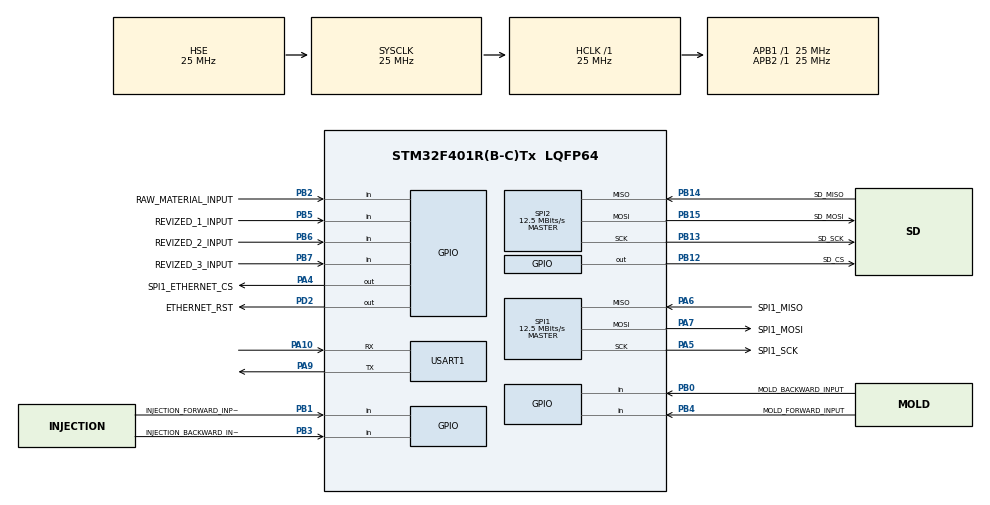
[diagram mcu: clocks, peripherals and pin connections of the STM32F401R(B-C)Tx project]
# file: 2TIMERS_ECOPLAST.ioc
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FATFS._MAX_SS=4096
FATFS._USE_LFN=1
Mcu.Family=STM32F4
Mcu.Name=STM32F401R(B-C)Tx
Mcu.Package=LQFP64
NVIC.PriorityGroup=NVIC_PRIORITYGROUP_4
NVIC.TIM3_IRQn=true\:1\:0\:true\:false\:true\:true\:true\:true
NVIC.TIM4_IRQn=true\:1\:0\:true\:false\:true\:true\:true\:true
PA10.Mode=Asynchronous
PA10.Signal=USART1_RX
PA4.GPIO_Label=SPI1_ETHERNET_CS
PA4.GPIO_PuPd=GPIO_PULLUP
PA4.GPIO_Speed=GPIO_SPEED_FREQ_LOW
PA4.Signal=GPIO_Output
PA5.GPIO_Label=SPI1_SCK
PA5.Mode=Full_Duplex_Master
PA5.Signal=SPI1_SCK
PA6.GPIO_Label=SPI1_MISO
PA6.Mode=Full_Duplex_Master
PA6.Signal=SPI1_MISO
PA7.GPIO_Label=SPI1_MOSI
PA7.Mode=Full_Duplex_Master
PA7.Signal=SPI1_MOSI
PA9.Mode=Asynchronous
PA9.Signal=USART1_TX
PB0.GPIO_Label=MOLD_BACKWARD_INPUT
PB0.GPIO_PuPd=GPIO_PULLDOWN
PB0.Signal=GPIO_Input
PB1.GPIO_Label=INJECTION_FORWARD_INPUT
PB1.GPIO_PuPd=GPIO_PULLDOWN
PB1.Signal=GPIO_Input
PB12.GPIO_Label=SD_CS
PB12.GPIO_PuPd=GPIO_PULLUP
PB12.GPIO_Speed=GPIO_SPEED_FREQ_VERY_HIGH
PB12.Signal=GPIO_Output
PB13.GPIO_Label=SD_SCK
PB13.Mode=Full_Duplex_Master
PB13.Signal=SPI2_SCK
PB14.GPIO_Label=SD_MISO
PB14.Mode=Full_Duplex_Master
PB14.Signal=SPI2_MISO
PB15.GPIO_Label=SD_MOSI
PB15.Mode=Full_Duplex_Master
PB15.Signal=SPI2_MOSI
PB2.GPIO_Label=RAW_MATERIAL_INPUT
PB2.GPIO_PuPd=GPIO_PULLDOWN
PB2.Signal=GPIO_Input
PB3.GPIO_Label=INJECTION_BACKWARD_INPUT
PB3.GPIO_PuPd=GPIO_PULLDOWN
PB3.Signal=GPIO_Input
PB4.GPIO_Label=MOLD_FORWARD_INPUT
PB4.GPIO_PuPd=GPIO_PULLDOWN
PB4.Signal=GPIO_Input
PB5.GPIO_Label=REVIZED_1_INPUT
PB5.GPIO_PuPd=GPIO_PULLDOWN
PB5.Signal=GPIO_Input
PB6.GPIO_Label=REVIZED_2_INPUT
PB6.GPIO_PuPd=GPIO_PULLDOWN
PB6.Signal=GPIO_Input
PB7.GPIO_Label=REVIZED_3_INPUT
PB7.GPIO_PuPd=GPIO_PULLDOWN
PB7.Signal=GPIO_Input
PD2.GPIO_Label=ETHERNET_RST
PD2.GPIO_PuPd=GPIO_PULLUP
PD2.Signal=GPIO_Output
PH0\ -\ OSC_IN.Mode=HSE-External-Oscillator
PH0\ -\ OSC_IN.Signal=RCC_OSC_IN
PH1\ -\ OSC_OUT.Mode=HSE-External-Oscillator
PH1\ -\ OSC_OUT.Signal=RCC_OSC_OUT
ProjectManager.HeapSize=0x200
ProjectManager.StackSize=0x400
ProjectManager.TargetToolchain=STM32CubeIDE
RCC.AHBFreq_Value=25000000
RCC.APB1Freq_Value=25000000
RCC.APB1TimFreq_Value=25000000
RCC.APB2Freq_Value=25000000
RCC.APB2TimFreq_Value=25000000
RCC.CortexFreq_Value=25000000
RCC.HCLKFreq_Value=25000000
RCC.HSE_VALUE=25000000
RCC.HSI_VALUE=16000000
RCC.LSE_VALUE=32768
RCC.SYSCLKFreq_VALUE=25000000
RCC.SYSCLKSource=RCC_SYSCLKSOURCE_HSE
RCC.VCOOutputFreq_Value=192000000
RTC.AsynchPrediv=99
RTC.SynchPrediv=299
SPI1.CalculateBaudRate=12.5 MBits/s
SPI1.Direction=SPI_DIRECTION_2LINES
SPI1.Mode=SPI_MODE_MASTER
SPI1.VirtualType=VM_MASTER
SPI2.CalculateBaudRate=12.5 MBits/s
SPI2.Direction=SPI_DIRECTION_2LINES
SPI2.Mode=SPI_MODE_MASTER
SPI2.VirtualType=VM_MASTER
TIM3.Period=25000-1
TIM3.Prescaler=5-1
TIM3.TIM_MasterOutputTrigger=TIM_TRGO_RESET
TIM4.Period=25000-1
TIM4.Prescaler=1000-1
TIM4.TIM_MasterOutputTrigger=TIM_TRGO_RESET
USART1.VirtualMode=VM_ASYNC
VP_FATFS_VS_Generic.Mode=User_defined
VP_RTC_VS_RTC_Activate.Mode=RTC_Enabled
VP_RTC_VS_RTC_Calendar.Mode=RTC_Calendar
VP_TIM3_VS_ClockSourceINT.Mode=Internal
VP_TIM4_VS_ClockSourceINT.Mode=Internal
board=custom

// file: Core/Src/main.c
/* USER CODE BEGIN Header */
#define JULIAN_DATE_BASE     2440588
/*
 * TODO LIST FOR DEVELOPT
 * - Thermocouple values will need to be included.
 * - Timer1 ==> Handle inputs & product status. Then save to sd card.
 * - Timer2 ==> Handle w5500 & connection status. Then get data from sd card and send to rabbitmq.
 *
 */

/*
w5500_setup w5500opt = {
		  .bufSize = {2,2,2,2,2,2,2,2},
		  .netInfo = {   .mac 	= {0x00, 0x08, 0xff, 0xab, 0xcd, 0x01},					// Mac address
	  	  	  	  	     .ip 	= {192, 167, 1, 11},									// IP address
						 .sn 	= {255, 255, 0, 0},										// Subnet mask
						 .gw 	= {192, 167, 1, 254},									// Gateway address+
		  },
		  .netTimeInfo = {
					.retry_cnt = 3,		 // 100ms, 200ms, 400ms, 800ms, 1600ms
					.time_100us = 1000,  // 200ms, 400ms, 800ms, 1600 ms, 3200ms  ==> 6.2 sn
		  }
};
*/

/**
  ******************************************************************************
  * @file           : main.c
  * @brief          : Main program body
  ******************************************************************************
  * @attention
  *
  * Copyright (c) 2022 STMicroelectronics.
  * All rights reserved.
  *
  * This software is licensed under terms that can be found in the LICENSE file
  * in the root directory of this software component.
  * If no LICENSE file comes with this software, it is provided AS-IS.
  *
  ******************************************************************************
  */
/* USER CODE END Header */
#include "main.h"
#include "fatfs.h"
#include "rtc.h"
#include "spi.h"
#include "tim.h"
#include "usart.h"
#include "gpio.h"

/* USER CODE BEGIN Includes */
#include "special_typedefs.h"
#include "special_defines.h"
#include "special_structs.h"
#include <stdbool.h>
#include <stdio.h>
#include <string.h>
#include <stdlib.h>
#include "Internet/SNTP/sntp.h"
#include "Ethernet/wizchip_conf.h"
#include "Ethernet/socket.h"
#include "Application/loopback/loopback.h"
#include "Ethernet/W5500/w5500.h"
#include "Internet/MQTT/MQTTClient.h"
#include <time.h>
#include <inttypes.h>
/* USER CODE END Includes */

/* USER CODE BEGIN PTD */
TIMER timer3Counter;
TIMER timer4Counter;

SD_CARD_StatusTypeDef sdStatus;
ETHERNET_StatusTypeDef w5500Status;
RTC_StatusTypeDef rtcStatus = SET_RTC_NOK;

FATFS fs;
FIL fil;
FRESULT fresult;
DIR dir;
FILINFO fno;

w5500_setup w5500opt = {
		  .bufSize = {2,2,2,2,2,2,2,2},
		  .netInfo = {   .mac 	= {0x00, 0x08, 0xff, 0xab, 0xcd, 0x01},					// Mac address
	  	  	  	  	     .ip 	= {192, 168, 1, 133},									// IP address
						 .sn 	= {255, 255, 255, 0},									// Subnet mask
						 .gw 	= {192, 168, 1, 1},										// Gateway address+
		  },
		  .netTimeInfo = {
					.retry_cnt = 3,		 // 100ms, 200ms, 400ms, 800ms, 1600ms
					.time_100us = 1000,  // 200ms, 400ms, 800ms, 1600 ms, 3200ms  ==> 6.2 sn
		  }
};

/*
 -username : ithinka
 -password : 7pnmBHXE2ZQNiqjmj_EW
 */

const uint8_t deviceId = 1;

char hostIp[4] = {192, 167, 1, 253};

unsigned char tempBuffer[1024*2] = {};

struct mqtt_client mqttopt = {
		  .clientid = "denemeClient",
		  .nodelimiter = 0,
		  .delimiter = "\n",
		  .qos = QOS0,
		  .username = "ithinka",
		  .password = "7pnmBHXE2ZQNiqjmj_EW",
		  .host = hostIp,
		  .port = 1883,
		  .showtopics = 1
};
/* USER CODE END PTD */

/* USER CODE BEGIN PV */
volatile uint8_t currentInputs = 0b00000000;
volatile uint8_t prevInputs    = 0b00000000;

volatile uint8_t currentProductStatus = 0;
volatile uint8_t currentTimer3Status = 0;
volatile uint8_t currentTimer4Status = 0;

volatile bool IsProductDone = true;
/* USER CODE END PV */

void SystemClock_Config(void);
/* USER CODE BEGIN PFP */
void checkInputs(void);
int checkProduct(void);
void msgLogger (char*);
RTC_StatusTypeDef setRTCTime(void);
uint8_t dayOfWeek(uint8_t, uint8_t, uint8_t);
char* getRTCTime(void);
char* getLogTime(void);
char* getDataTime(void);
char* getRTCStatus(RTC_StatusTypeDef status);
char* getSubsecondTime(void);
uint32_t getUnixTime(void);
void fillProduct(struct productVal *product);
bool writeSDProductInfo(struct productVal *product);
SD_CARD_StatusTypeDef SDInit(void);
int8_t w5500Init(struct w5500_setup w5500Opt);
bool checkSDStore(void);
int MQTT_run(char* sdBuf);
void inputStatusLogger(uint8_t);
void cs_sel();
void cs_desel();
uint8_t spi_rb(void);
void spi_wb(uint8_t b);
void rtc_write_backup_reg(uint32_t BackupRegister, uint32_t data);
uint32_t rtc_read_backup_reg(uint32_t BackupRegister);
/* USER CODE END PFP */

/* USER CODE BEGIN 0 */
uint8_t ntp_server[4] = {176, 235, 22, 135};
uint8_t ntpSocket = 0;
uint8_t timeZone = 21;
unsigned char ethBuf[ETH_MAX_BUF_SIZE];
/* USER CODE END 0 */

int main(void)
{

  /* MCU Configuration--------------------------------------------------------*/

  /* Reset of all peripherals, Initializes the Flash interface and the Systick. */
  HAL_Init();

  /* Configure the system clock */
  SystemClock_Config();

  /* Initialize all configured peripherals */
  MX_GPIO_Init();
  MX_TIM3_Init();
  MX_RTC_Init();
  MX_SPI1_Init();
  MX_USART1_UART_Init();
  MX_SPI2_Init();
  MX_FATFS_Init();
  MX_TIM4_Init();
  /* USER CODE BEGIN 2 */
  sdStatus = SDInit();
  if (sdStatus == SD_CARD_READY) {
	  msgLogger("SD_CARD Init is done.");
  }
  reg_wizchip_cs_cbfunc(cs_sel, cs_desel);
  reg_wizchip_spi_cbfunc(spi_rb, spi_wb);

  prevInputs = GPIOB->IDR;
  HAL_TIM_Base_Start_IT(&htim4);
  HAL_TIM_Base_Start_IT(&htim3);

  msgLogger("Setup is DONE.");
  /* USER CODE END 2 */

  /* Infinite loop */
  while (1)
  {

  }
}

void SystemClock_Config(void)
{
  RCC_OscInitTypeDef RCC_OscInitStruct = {0};
  RCC_ClkInitTypeDef RCC_ClkInitStruct = {0};

  /** Configure the main internal regulator output voltage
  */
  __HAL_RCC_PWR_CLK_ENABLE();
  __HAL_PWR_VOLTAGESCALING_CONFIG(PWR_REGULATOR_VOLTAGE_SCALE2);

  /** Initializes the RCC Oscillators according to the specified parameters
  * in the RCC_OscInitTypeDef structure.
  */
  RCC_OscInitStruct.OscillatorType = RCC_OSCILLATORTYPE_LSI|RCC_OSCILLATORTYPE_HSE;
  RCC_OscInitStruct.HSEState = RCC_HSE_ON;
  RCC_OscInitStruct.LSIState = RCC_LSI_ON;
  RCC_OscInitStruct.PLL.PLLState = RCC_PLL_NONE;
  if (HAL_RCC_OscConfig(&RCC_OscInitStruct) != HAL_OK)
  {
    Error_Handler();
  }

  /** Initializes the CPU, AHB and APB buses clocks
  */
  RCC_ClkInitStruct.ClockType = RCC_CLOCKTYPE_HCLK|RCC_CLOCKTYPE_SYSCLK
                              |RCC_CLOCKTYPE_PCLK1|RCC_CLOCKTYPE_PCLK2;
  RCC_ClkInitStruct.SYSCLKSource = RCC_SYSCLKSOURCE_HSE;
  RCC_ClkInitStruct.AHBCLKDivider = RCC_SYSCLK_DIV1;
  RCC_ClkInitStruct.APB1CLKDivider = RCC_HCLK_DIV1;
  RCC_ClkInitStruct.APB2CLKDivider = RCC_HCLK_DIV1;

  if (HAL_RCC_ClockConfig(&RCC_ClkInitStruct, FLASH_LATENCY_0) != HAL_OK)
  {
    Error_Handler();
  }
}

/* USER CODE BEGIN 4 */
void HAL_TIM_PeriodElapsedCallback(TIM_HandleTypeDef *htim)
{
	if (htim->Instance == TIM3) {
		if (currentTimer3Status == 0) {
			product = (struct productVal*)malloc(sizeof(struct productVal));
			if (product != NULL) {
				fillProduct(product);
				currentTimer3Status = 1;
				msgLogger("Timer3 status is changed. 0 --> 1");
			}
			else
				currentTimer3Status = 0;
		}
		else if (currentTimer3Status == 1) {
			checkInputs();
			int productStatus = checkProduct();
			if (productStatus) {
				currentTimer3Status = 2;
				msgLogger("Timer3 status is changed. 1 --> 2");
			}
		}
		else if (currentTimer3Status == 2) {
			free(product);
			IsProductDone = true;
			currentTimer3Status = 0;
			msgLogger("Timer3 status is changed. 2 --> 0");
		}
	}
	if (htim->Instance == TIM4) {
		timer4Counter++;
		if (currentTimer4Status == 0) {
			ETH_PWR_RESET;
			currentTimer4Status = 1;
			msgLogger("Timer4 status is changed. 0 --> 1");
		}
		else if (currentTimer4Status == 1) {
			ETH_PWR_SET;
			currentTimer4Status = 2;
			msgLogger("Timer4 status is changed. 1 --> 2");
		}
		else if (currentTimer4Status == 2) {
			if (w5500Init(w5500opt) == 0) {
				msgLogger("W5500 init OK.");
				currentTimer4Status = 3;
				msgLogger("Timer4 status is changed. 2 --> 3");
			}
			else {
				currentTimer4Status = 0;
				msgLogger("W5500 Init Error. Timer4 status is changed. 2 --> 0");
			}
		}
		else if (currentTimer4Status == 3) {
			currentTimer4Status = 4;
			msgLogger("Timer4 status is changed. 3 --> 4");
		}
		else if (currentTimer4Status == 4) {
			currentTimer4Status = 5;
			msgLogger("Timer4 status is changed. 4 --> 5");
		}
		else if (currentTimer4Status == 5) {
			static int counter = 0;
			if (rtcStatus == SET_RTC_NOK) {
				if (timer4Counter % 2 == 0) {    //to make 2 seconds delay
					SNTP_init(ntpSocket, ntp_server, timeZone, ethBuf);
					if (SET_RTC_OK == setRTCTime()) {
						rtcStatus = SET_RTC_OK;
						printf("Time is succesfully set to = %s\r\n", getRTCTime());
						printf("UnixTime = %"PRIu32"\r\n", getUnixTime());
						currentTimer4Status = 6;
						msgLogger("Timer4 status is changed. 5 --> 6");
						counter = 0;
					}
					else {
						msgLogger("setRTCTime Error");
						counter++;
						if (counter > 10) {
							if (HAL_RTCEx_BKUPRead(&hrtc, RTC_BKP_DR1) != 0x32F2) {
								msgLogger("setRTCTime Error happaned too many times.");
								counter = 0;
								currentTimer4Status = 0;
								msgLogger("Timer4 status is changed. 5 --> 0");
							}
							else {
								msgLogger("Going to use RTC Backup Value.");
								printf("Time is succesfully set to = %s\r\n", getRTCTime());
								printf("UnixTime = %"PRIu32"\r\n", getUnixTime());
								currentTimer4Status = 6;
								msgLogger("Timer4 status is changed. 5 --> 6");
							}
						}
					}
				}
			}
			else {
				currentTimer4Status = 6;
				msgLogger("Timer4 status is changed. 5 --> 6");
			}
		}
		else if (currentTimer4Status == 6) {
			if (IsProductDone) {
				currentTimer4Status = 7;
				msgLogger("Timer4 status is changed. 6 --> 7");
			}
		}
		else if (currentTimer4Status == 7) {
			if (sdStatus == SD_CARD_READY) {
				if (checkSDStore()) {
					currentTimer4Status = 6;
					msgLogger("Timer4 status is changed. 7 --> 6");
				}
				else {
					currentTimer4Status = 0;
					msgLogger("Timer4 status is changed. 7 --> 0");
				}
			}
			if (!IsProductDone) {
				currentTimer4Status = 6;
				msgLogger("Timer4 status is changed. 7 --> 6");
			}
		}
	}
}

void checkInputs(void)
{
	/*
	 * GPIOB->IDR is input register of port B.
	 * It returns all of input status, but we only get 0-7.
	 */
	currentInputs = GPIOB->IDR;
	if (prevInputs != currentInputs) {
		inputStatusLogger(currentInputs);
		prevInputs = currentInputs;
	}
}

int checkProduct(void)
{
	switch(currentProductStatus) {
	case 0:
		if (((currentInputs & bit(MOULD_BACKWARD)) == bit(MOULD_BACKWARD)) == true) {
			sprintf(product->mouldBackward.inputHighDate, "%"PRIu32"%s", getUnixTime(), getSubsecondTime());
			currentProductStatus = 1;
			msgLogger("Current product status is changed. 0 --> 1");
		}
		break;
	case 1:
		if (((currentInputs & bit(MOULD_BACKWARD)) == bit(MOULD_BACKWARD)) == false) {
			sprintf(product->mouldBackward.inputLowDate, "%"PRIu32"%s", getUnixTime(), getSubsecondTime());
			currentProductStatus = 2;
			msgLogger("Current product status is changed. 1 --> 2");
		}
		else {
			if (((currentInputs & bit(MOULD_FORWARD)) == bit(MOULD_FORWARD)) == true) {
				currentProductStatus = 0;
				msgLogger("Current state is 0. Unexpected behavior has been detected.");
				return 1;
			}
		}
		break;
	case 2:
		if (((currentInputs & bit(INJECTION_FORWARD)) == bit(INJECTION_FORWARD)) == true) {
			sprintf(product->injectionForward.inputHighDate, "%"PRIu32"%s", getUnixTime(), getSubsecondTime());
			currentProductStatus = 3;
			msgLogger("Current product status is changed. 2 --> 3");
		}
		else {
			if (((currentInputs & bit(MOULD_FORWARD)) == bit(MOULD_FORWARD)) == true) {
				product->productEndDate = getUnixTime();
				currentProductStatus = 0;
				msgLogger("Current state is 0. Unexpected behavior has been detected.");
				return 2;
			}
		}
		break;
	case 3:
		if (((currentInputs & bit(INJECTION_FORWARD)) == bit(INJECTION_FORWARD)) == false) {
			sprintf(product->injectionForward.inputLowDate, "%"PRIu32"%s", getUnixTime(), getSubsecondTime());
			currentProductStatus = 4;
			msgLogger("Current product status is changed. 3 --> 4");
		}
		else {
			if (((currentInputs & bit(MOULD_FORWARD)) == bit(MOULD_FORWARD)) == true) {
				product->productEndDate = getUnixTime();
				currentProductStatus = 0;
				msgLogger("Current state is 0. Unexpected behavior has been detected.");
				return 3;
			}
		}
		break;
	case 4:
		if (((currentInputs & bit(RAW_MATERIAL_PACKING)) == bit(RAW_MATERIAL_PACKING)) == true) {
			sprintf(product->rawMaterialPacking.inputHighDate, "%"PRIu32"%s", getUnixTime(), getSubsecondTime());
			currentProductStatus = 5;
			msgLogger("Current product status is changed. 4 --> 5");
			IsProductDone = false;
		}
		else {
			if (((currentInputs & bit(MOULD_FORWARD)) == bit(MOULD_FORWARD)) == true) {
				product->productEndDate = getUnixTime();
				currentProductStatus = 0;
				msgLogger("Current state is 0. Unexpected behavior happaned.");
				return 4;
			}
		}
		break;
	case 5:
		if (((currentInputs & bit(RAW_MATERIAL_PACKING)) == bit(RAW_MATERIAL_PACKING)) == false) {
			sprintf(product->rawMaterialPacking.inputLowDate, "%"PRIu32"%s", getUnixTime(), getSubsecondTime());
			currentProductStatus = 6;
			msgLogger("Current product status is changed. 5 --> 6");
		}
		else {
			if (((currentInputs & bit(MOULD_FORWARD)) == bit(MOULD_FORWARD)) == true) {
				product->productEndDate = getUnixTime();
				currentProductStatus = 0;
				msgLogger("Current state is 0. Unexpected behavior has been detected.");
				return 5;
			}
		}
		break;
	case 6:
		if (((currentInputs & bit(MOULD_FORWARD)) == bit(MOULD_FORWARD)) == true) {
			sprintf(product->mouldForward.inputHighDate, "%"PRIu32"%s", getUnixTime(), getSubsecondTime());
			currentProductStatus = 7;
			msgLogger("Current product status is changed. 6 --> 7");
		}
		else {
			if (((currentInputs & bit(MOULD_BACKWARD)) == bit(MOULD_BACKWARD)) == true) {
			    product->productEndDate = getUnixTime();
				currentProductStatus = 0;
				msgLogger("Current state is 0. Unexpected behavior has been detected.");
				return 6;
			}
		}
		break;
	case 7:
		if (((currentInputs & bit(MOULD_FORWARD)) == bit(MOULD_FORWARD)) == false) {
			sprintf(product->mouldForward.inputLowDate, "%"PRIu32"%s", getUnixTime(), getSubsecondTime());
			product->productEndDate = getUnixTime();
			currentProductStatus = 0;
			msgLogger("Product produced succesfully.");
			int sdResult = writeSDProductInfo(product);
			if (sdResult)
				msgLogger("Data is created on SD CARD.");
			return 8;
		}
		else {
			if (((currentInputs & bit(MOULD_BACKWARD)) == bit(MOULD_BACKWARD)) == true) {
				product->productEndDate = getUnixTime();
				currentProductStatus = 0;
				msgLogger("Current state is 0. Unexpected behavior has been detected.");
				return 7;
			}
		}
		break;
	}
	return 0;
}

void fillProduct(struct productVal *product)
{
	strcpy(product->injectionForward.inputHighDate, "null");
	strcpy(product->injectionForward.inputLowDate, "null");
	strcpy(product->mouldBackward.inputHighDate, "null");
	strcpy(product->mouldBackward.inputLowDate, "null");
	strcpy(product->mouldForward.inputHighDate, "null");
	strcpy(product->mouldForward.inputLowDate, "null");
	strcpy(product->rawMaterialPacking.inputHighDate, "null");
	strcpy(product->rawMaterialPacking.inputLowDate, "null");
	product->productEndDate = 0;
}

bool writeSDProductInfo(struct productVal *product)
{
	/*
	 * To calculate realCycleTime = TimeDouble(MouldBackward-HighSignal) - TimeDouble(MouldForward-LowSignal)
	 * To calculate coolingTime = TimeDouble(RawMaterial-HighSignal) - TimeDouble(MouldForward-HighSignal)
	 * To calculate injectionTime = TimeDouble(Injection-HighSignal) - TimeDouble(RawMaterial-HighSignal)
	 * Get these signals difference to calculate.
	 * Temperature signal will be added when it is OK. Now it is static defined to make a data look like DTO.
	 */
	char *eptr;
	double realCycleTime = strtod(product->mouldForward.inputLowDate, &eptr) - strtod(product->mouldBackward.inputHighDate, &eptr);
	double coolingTime = strtod(product->mouldForward.inputHighDate, &eptr) - strtod(product->rawMaterialPacking.inputHighDate, &eptr);
	double injectionTime = strtod(product->rawMaterialPacking.inputHighDate, &eptr) - strtod(product->injectionForward.inputHighDate, &eptr);
	double temperature1 = 0.1;

	if (sdStatus == SD_CARD_READY) {
		sdStatus = SD_CARD_BUSY;
		char fileName[50];
		if (product->productEndDate > 0) {
			sprintf(fileName, "Data/%"PRIu32".log", product->productEndDate);
		} else {
			sprintf(fileName, "Data/%s_Err.log", getDataTime());
		}
		fresult = f_open(&fil, fileName, FA_OPEN_ALWAYS | FA_WRITE);
		if (fresult == FR_OK) {
			char* data = (char*)malloc(500 * (sizeof(char)));
			if (data != NULL) {
				sprintf(data, "{\"deviceId\": %d, \"productDate\":%"PRIu32", \"realCycleTime\": %.3f, \"coolingTime\": %.3f, \"injectionTime\": %.3f, \"temperature\": %.3f}"
						, deviceId, product->productEndDate, realCycleTime, coolingTime, injectionTime, temperature1);
				f_puts(data, &fil);
				free(data);
				f_close(&fil);
				sdStatus = SD_CARD_READY;
				return true;
			}
			else {
				printf("[writeSDProductInfo()] Memory Allocation Error. \r\n");
				f_close(&fil);
				sdStatus = SD_CARD_READY;
				return false;
			}
		}
		else {
			printf("[writeSDProductInfo()] Error happaned while opening file.\r\n");
			sdStatus = SD_CARD_READY;
			return false;
		}
	}
	else {
		return false;
	}

	return false;
}

uint32_t rtc_read_backup_reg(uint32_t BackupRegister) {
    RTC_HandleTypeDef RtcHandle;
    RtcHandle.Instance = RTC;
    return HAL_RTCEx_BKUPRead(&RtcHandle, BackupRegister);
}

void rtc_write_backup_reg(uint32_t BackupRegister, uint32_t data) {
    RTC_HandleTypeDef RtcHandle;
    RtcHandle.Instance = RTC;
    HAL_PWR_EnableBkUpAccess();
    HAL_RTCEx_BKUPWrite(&RtcHandle, BackupRegister, data);
    HAL_PWR_DisableBkUpAccess();
}

RTC_StatusTypeDef setRTCTime()  //timeBuf is gonna have ["day" = 0, "month" = 1, "year" = 2, "hour" = 3, "min" = 4, "second" = 5]
{
	uint8_t status;
	datetime ntpTime;
	status = SNTP_run(&ntpTime);
	if (status) {
		RTC_TimeTypeDef sTime = {0};
		RTC_DateTypeDef sDate = {0};

		HAL_PWR_EnableBkUpAccess();
		__HAL_RCC_RTC_CONFIG(RTC_BKP_DR1);
		__HAL_RCC_RTC_ENABLE();

		sTime.Hours = DEC2BCD(ntpTime.hh);
		sTime.Minutes = DEC2BCD(ntpTime.mm);
		sTime.Seconds = DEC2BCD(ntpTime.ss);
		sTime.DayLightSaving = RTC_DAYLIGHTSAVING_NONE;
		sTime.StoreOperation = RTC_STOREOPERATION_RESET;
		if (HAL_RTC_SetTime(&hrtc, &sTime, RTC_FORMAT_BCD) != HAL_OK)
		{
			Error_Handler();
		}
		sDate.Date = DEC2BCD(ntpTime.dd);
		sDate.Month = DEC2BCD(ntpTime.mo);
		sDate.Year = DEC2BCD(ntpTime.yy%100);
		sDate.WeekDay = DEC2BCD(dayOfWeek(ntpTime.dd, ntpTime.mo, ntpTime.yy));  // d, m, y
		if (HAL_RTC_SetDate(&hrtc, &sDate, RTC_FORMAT_BCD) != HAL_OK)
		{
			Error_Handler();
		}
		HAL_RTCEx_BKUPWrite(&hrtc, RTC_BKP_DR1, 0x32F2);
		return SET_RTC_OK;
	}
	else return SET_RTC_NOK;
}

char* getRTCTime(void)
{
	RTC_TimeTypeDef gTime;
	RTC_DateTypeDef gDate;

	static char getTimeBuf[30] = {'\0'};

	HAL_RTC_GetTime(&hrtc, &gTime, RTC_FORMAT_BCD);
	HAL_RTC_GetDate(&hrtc, &gDate, RTC_FORMAT_BCD);

	sprintf(getTimeBuf, "%02d/%02d/%04d,%02d:%02d:%02d.%"PRIu32"", BCD2DEC(gDate.Date), BCD2DEC(gDate.Month), BCD2DEC(gDate.Year) + YEAR, BCD2DEC(gTime.Hours), BCD2DEC(gTime.Minutes), BCD2DEC(gTime.Seconds), BCD2DEC(gTime.SubSeconds));
						//format can be changed by what developers want.
	return getTimeBuf;
}

char* getSubsecondTime(void)
{
	RTC_TimeTypeDef gTime;
	RTC_DateTypeDef gDate;

	static char getSubsecondBuf[5] = {'\0'};

	HAL_RTC_GetTime(&hrtc, &gTime, RTC_FORMAT_BCD);
	HAL_RTC_GetDate(&hrtc, &gDate, RTC_FORMAT_BCD);

	sprintf(getSubsecondBuf, ".%"PRIu32"", BCD2DEC(gTime.SubSeconds));

	return getSubsecondBuf;
}

char* getLogTime(void)
{
	RTC_TimeTypeDef gTime;
	RTC_DateTypeDef gDate;

	static char getTimeBuf[30] = {'\0'};

	HAL_RTC_GetTime(&hrtc, &gTime, RTC_FORMAT_BCD);
	HAL_RTC_GetDate(&hrtc, &gDate, RTC_FORMAT_BCD);

	sprintf(getTimeBuf,"%02d_%02d_%04d", BCD2DEC(gDate.Date), BCD2DEC(gDate.Month), BCD2DEC(gDate.Year) + YEAR);
						//format can be changed by what developers want.
	return getTimeBuf;
}

char* getDataTime(void)
{
	RTC_TimeTypeDef gTime;
	RTC_DateTypeDef gDate;

	static char getTimeBuf[30] = {'\0'};

	HAL_RTC_GetTime(&hrtc, &gTime, RTC_FORMAT_BCD);
	HAL_RTC_GetDate(&hrtc, &gDate, RTC_FORMAT_BCD);

	sprintf(getTimeBuf, "%02d_%02d_%04dT%02d_%02d_%02d", BCD2DEC(gDate.Date), BCD2DEC(gDate.Month), BCD2DEC(gDate.Year) + YEAR, BCD2DEC(gTime.Hours), BCD2DEC(gTime.Minutes), BCD2DEC(gTime.Seconds));
						//format can be changed by what developers want.
	return getTimeBuf;
}

uint8_t dayOfWeek(uint8_t d, uint8_t m, uint8_t y)
{
	//this is zero-based algorithm. So sunday is 0 monday is 1 etc.
	uint8_t weekDay = (d += m < 3 ? y-- : y - 2, 23*m/9 + d + 4 + y/4- y/100 + y/400)%7;
	if (weekDay == 0) return 7;
	else return weekDay;
}

char* getRTCStatus(RTC_StatusTypeDef status)
{
	switch(status)
	{
		case -1:
			return "SET_RTC_NOK";
		case 1:
			return "SET_RTC_OK";
		case -2:
			return "GET_RTC_NOK";
		case 2:
			return "GET_RTC_OK";
		default:
			return "NOTHING";
	}
	return "NOTHING";
}

uint32_t getUnixTime(void)
{
	RTC_TimeTypeDef gTime;
	RTC_DateTypeDef gDate;

	HAL_RTC_GetTime(&hrtc, &gTime, RTC_FORMAT_BCD);
	HAL_RTC_GetDate(&hrtc, &gDate, RTC_FORMAT_BCD);

	uint8_t  a;
	uint16_t y;
	uint8_t  m;
	uint32_t JDN;

	// These hardcore math's are taken from http://en.wikipedia.org/wiki/Julian_day

	// Calculate some coefficients
	a = (14 - BCD2DEC(gDate.Month)) / 12;
	y = (BCD2DEC(gDate.Year) + 2000) + 4800 - a; // years since 1 March, 4801 BC
	m = BCD2DEC(gDate.Month) + (12 * a) - 3; // since 1 March, 4801 BC

	// Gregorian calendar date compute
    JDN  = BCD2DEC(gDate.Date);
    JDN += (153 * m + 2) / 5;
    JDN += 365 * y;
    JDN += y / 4;
    JDN += -y / 100;
    JDN += y / 400;
    JDN  = JDN - 32045;
    JDN  = JDN - JULIAN_DATE_BASE;    		 // Calculate from base date
    JDN *= 86400;                     		// Days to seconds
    JDN += BCD2DEC(gTime.Hours) * 3600;    // ... and today seconds
    JDN += BCD2DEC(gTime.Minutes) * 60;
    JDN += BCD2DEC(gTime.Seconds);

	return JDN;
}

SD_CARD_StatusTypeDef SDInit(void)
{
	fresult = f_mount(&fs, "", 0);
	if (FR_OK != fresult) {
		return SD_CARD_ERROR;
	}
	fresult = f_mkdir("Data");
	if (FR_OK != fresult && FR_EXIST != fresult) {
		return SD_CARD_ERROR;
	}
	fresult = f_mkdir("Log");
	if (FR_OK != fresult && FR_EXIST != fresult) {
		return SD_CARD_ERROR;
	}

	return SD_CARD_READY;
}

bool checkSDStore(void)
{
	sdStatus = SD_CARD_BUSY;
	fresult = f_findfirst(&dir, &fno, "Data", "????*.log");
	if (strlen(fno.fname) > 1 && fresult == FR_OK) {
		char fileName[sizeof(fno.fname) + 20];
		sprintf(fileName, "Data/%s", fno.fname);
		fresult = f_open(&fil, fileName, FA_READ);
		char buf[SD_READ_BUF_SIZE];
		f_gets(buf, sizeof(buf), &fil);
		int result = MQTT_run(buf);
		if (result < 0) {
			msgLogger("Error Happaned While Sending Data to MQTT Server.");
			sdStatus = SD_CARD_READY;
			fresult = f_close(&fil);
			return false;
		}
		else {
			msgLogger("Data has been sent succesfully.");
			fresult = f_close(&fil);
			f_unlink(fileName);
		}
	}
	sdStatus = SD_CARD_READY;
	return true;
}

int8_t w5500Init(struct w5500_setup w5500Opt)
{
	int8_t result;
	result = wizchip_init(w5500Opt.bufSize, w5500Opt.bufSize);
	wizchip_setnetinfo(&w5500Opt.netInfo);
	wizchip_settimeout(&w5500Opt.netTimeInfo);
	return result;
}

int MQTT_run(char* sdBuf)
{
	int rc = 0;
	uint8_t buf[SD_READ_BUF_SIZE];
	char pubbuf[SD_READ_BUF_SIZE];
	Network n;
	MQTTClient c;
	MQTTMessage m;

	NewNetwork(&n, 0);
	int i =	ConnectNetwork(&n, (uint8_t*)hostIp, 1883);
	if (i == 0) return -1;
	MQTTClientInit(&c, &n, 1000, buf, sizeof(buf), tempBuffer, sizeof(tempBuffer));

	MQTTPacket_connectData data = MQTTPacket_connectData_initializer;
	data.willFlag = 0;
	data.MQTTVersion = 3;
	data.clientID.cstring = mqttopt.clientid;
	data.username.cstring = mqttopt.username;
	data.password.cstring = mqttopt.password;

	data.keepAliveInterval = 60;
	data.cleansession = 1;

	rc = MQTTConnect(&c, &data);
	if (rc < 0) {
		return rc;
	}
	printf("Connected to server : {%d, %d, %d, %d}\r\n", hostIp[0], hostIp[1], hostIp[2], hostIp[3]);
	mqttopt.showtopics = 1;

	m.qos = QOS0;
	m.retained = 1;
	m.dup = 0;

	MQTTYield(&c, data.keepAliveInterval);
	sprintf(pubbuf, sdBuf);
	m.payload = pubbuf;
	m.payloadlen = strlen(pubbuf);
	uint8_t mqttTOPIC[30] = "/product_003";
	rc = -1;
	uint8_t retry = 0;
	while (rc != 0) {
		retry++;
		rc = MQTTPublish(&c, (const char*)mqttTOPIC, &m);
		if (retry > 4) return rc;
	}
	printf("Message is sent to MQTT Server.\r\n");
	return rc;
}

void msgLogger (char* msg)
{
#if MSG_LOGGER & UART_LOGGER
	uint32_t len = strlen(msg);
	printf("[%s] ==> %s\n", getRTCTime(), msg);
	if (len > 2000) return;
	#if MSG_LOGGER & SD_LOGGER
		char *ptrBuf = (char*)malloc(len * sizeof(char));
		if (ptrBuf == NULL) {
			printf("[%s] ==> %s\n", getRTCTime(), "Can't allocate memory for debug");
			return;
		}
		if (sdStatus == SD_CARD_READY) {
			sdStatus = SD_CARD_BUSY;
		    fresult = f_mkdir("Logs");
		    if (fresult == FR_EXIST) {
		    	printf("LOG File is already exited.\n");
		    }
		    else if (fresult != FR_OK) {
		    	printf("Error Happaned while opening Dictionary! Fresult = %d\n", fresult);
		    	free(ptrBuf);
		    	return;
		    }
		  	else {
		  		printf("Log directory is created.\n");
		  	}
			char fileName[40];
			sprintf(fileName, "Logs/%s.log", getLogTime());
			fresult = f_open(&fil, fileName, FA_OPEN_APPEND | FA_WRITE);
			if (fresult == FR_OK) {
				sprintf(ptrBuf, "%s ==> %s\n", getRTCTime(), msg);
				f_puts(ptrBuf, &fil);
				f_close(&fil);
			}
			free(ptrBuf);
		}
		else {
			free(ptrBuf);
		}
		sdStatus = SD_CARD_READY;
	#endif
#endif
}

void inputStatusLogger(uint8_t input)
{
	#if MSG_LOGGER & UART_LOGGER
		char buf[sizeof("Current Inputs ==> ") + sizeof(BYTE_TO_BINARY_PATTERN) + sizeof(int)];
		sprintf(buf, "Current Inputs ==> "BYTE_TO_BINARY_PATTERN, BYTE_TO_BINARY(input));
		msgLogger(buf);
	#endif
}

void cs_sel() {
	HAL_GPIO_WritePin(GPIOA, GPIO_PIN_4, GPIO_PIN_RESET); //CS LOW
}

void cs_desel() {
	HAL_GPIO_WritePin(GPIOA, GPIO_PIN_4, GPIO_PIN_SET); //CS HIGH
}

uint8_t spi_rb(void) {
	uint8_t rbuf;
	HAL_SPI_Receive(&hspi1, &rbuf, 1, 0xFFFFFFFF);
	return rbuf;
}

void spi_wb(uint8_t b) {
	HAL_SPI_Transmit(&hspi1, &b, 1, 0xFFFFFFFF);
}
/* USER CODE END 4 */

void Error_Handler(void)
{
  __disable_irq();
  while (1)
  {
  }
}
